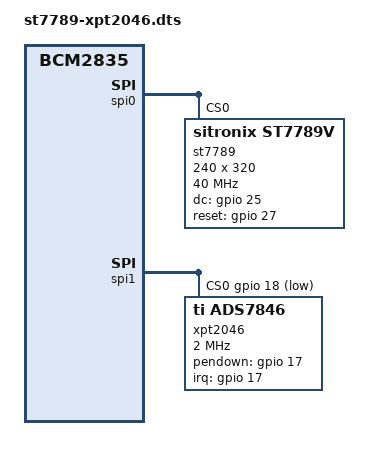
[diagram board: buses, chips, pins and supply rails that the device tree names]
/dts-v1/;
/plugin/;

/ {
    compatible = "brcm,bcm2835";

    /* 1. Tắt các spidev mặc định để driver chiếm quyền */
    fragment@0 {
        target = <&spidev0>;
        __overlay__ { status = "disabled"; };
    };

    fragment@1 {
        target = <&spidev1>;
        __overlay__ { status = "disabled"; };
    };

    /* 2. Cấu hình GPIO */
    fragment@2 {
        target = <&gpio>;
        __overlay__ {
            /* Cấu hình chân cho màn hình (DC, RST) */
            st7789_pins: st7789_pins {
                brcm,pins = <25 27>;
                brcm,function = <1 1>; /* Output */
            };

            /* Cấu hình chân ngắt cho cảm ứng */
            xpt2046_pins: xpt2046_pins {
                brcm,pins = <17>;
                brcm,function = <0>; /* Input */
                brcm,pull = <2>; /* Pull up */
            };

            /* Cấu hình chân cho SPI1 (Aux SPI) - BẮT BUỘC */
            spi1_pins: spi1_pins {
                brcm,pins = <18 19 20 21>; 
                brcm,function = <3>; /* ALT4: SPI1 functions */
            };
        };
    };

    /* 3. Màn hình ST7789 trên SPI0 (Hiệu năng cao) */
    fragment@3 {
        target = <&spi0>;
        __overlay__ {
            status = "okay";
            #address-cells = <1>;
            #size-cells = <0>;

            st7789: st7789v@0 {
                compatible = "sitronix,st7789v";
                reg = <0>; /* GPIO 8 (CE0) */
                status = "okay";
                
                spi-max-frequency = <40000000>; /* Đẩy lên 40MHz cho mượt */
                rotate = <90>;
                fps = <60>;
                buswidth = <8>;

                width = <240>;
                height = <320>;
                
                dc-gpios = <&gpio 25 0>;
                reset-gpios = <&gpio 27 0>;
                debug = <0>;
            };
        };
    };

    /* 4. Cảm ứng XPT2046 trên SPI1 (Riêng biệt) */
    fragment@4 {
        target = <&spi1>;
        __overlay__ {
            status = "okay";
            #address-cells = <1>;
            #size-cells = <0>;
            
            /* Gán cấu hình chân SPI1 đã định nghĩa ở trên */
            pinctrl-names = "default";
            pinctrl-0 = <&spi1_pins>;
            
            /* Dùng GPIO 18 làm Chip Select */
            cs-gpios = <&gpio 18 1>; 

            xpt2046: xpt2046@0 {
                compatible = "ti,ads7846";
                reg = <0>; /* Thiết bị 0 trên SPI1 */
                status = "okay";

                spi-max-frequency = <2000000>;
                interrupts = <17 2>;
                interrupt-parent = <&gpio>;
                pendown-gpio = <&gpio 17 0>;

                touchscreen-swapped-x-y;
                touchscreen-min-x = <100>;
                touchscreen-max-x = <1962>;
                touchscreen-min-y = <100>;
                touchscreen-max-y = <1900>;
                xpt2046-inv-x;
            };
        };
    };
    
    __overrides__ {
        speed =     <&st7789>,"spi-max-frequency:0";
        rotate =    <&st7789>,"rotate:0";
        swapxy =    <&xpt2046>,"touchscreen-swapped-x-y?";
    };
};
